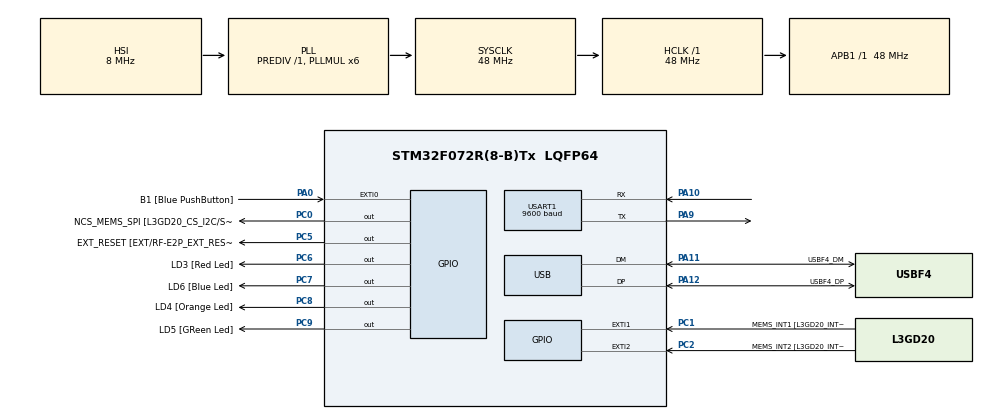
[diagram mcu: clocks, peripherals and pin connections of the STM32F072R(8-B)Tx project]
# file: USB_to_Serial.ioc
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Mcu.Family=STM32F0
Mcu.Name=STM32F072R(8-B)Tx
Mcu.Package=LQFP64
NVIC.USART1_IRQn=true\:0\:0\:false\:false\:true
NVIC.USB_IRQn=true\:0\:0\:false\:false\:true
PA0.GPIO_Label=B1 [Blue PushButton]
PA0.GPIO_ModeDefaultEXTI=GPIO_MODE_EVT_RISING
PA0.Signal=GPXTI0
PA10.Mode=Asynchronous
PA10.Signal=USART1_RX
PA11.GPIO_Label=USBF4_DM
PA11.Mode=Device
PA11.Signal=USB_DM
PA12.GPIO_Label=USBF4_DP
PA12.Mode=Device
PA12.Signal=USB_DP
PA13.GPIO_Label=SWDIO
PA13.Signal=SYS_SWDIO
PA14.GPIO_Label=SWCLK
PA14.Signal=SYS_SWCLK
PA2.Signal=TSC_G1_IO3
PA3.Signal=TSC_G1_IO4
PA6.Signal=TSC_G2_IO3
PA7.Signal=TSC_G2_IO4
PA9.Mode=Asynchronous
PA9.Signal=USART1_TX
PB0.Signal=TSC_G3_IO2
PB1.Signal=TSC_G3_IO3
PB10.GPIO_Label=I2C2_SCL[EXT/RF-E2P_SCL]
PB10.Signal=I2C2_SCL
PB11.GPIO_Label=I2C2_SDA[EXT/RF-E2P_SDA]
PB11.Signal=I2C2_SDA
PB13.GPIO_Label=SPI2_SCK [L3GD20_SCL/SPC]
PB13.Signal=SPI2_SCK
PB14.GPIO_Label=SPI2_MISO [L3GD20_SDO]
PB14.Signal=SPI2_MISO
PB15.GPIO_Label=SPI2_MOSI [L3GD20_SDA/SDI]
PB15.Signal=SPI2_MOSI
PC0.GPIO_Label=NCS_MEMS_SPI [L3GD20_CS_I2C/SPI]
PC0.Signal=GPIO_Output
PC1.GPIO_Label=MEMS_INT1 [L3GD20_INT1]
PC1.GPIO_ModeDefaultEXTI=GPIO_MODE_EVT_RISING
PC1.Signal=GPXTI1
PC2.GPIO_Label=MEMS_INT2 [L3GD20_INT2]
PC2.GPIO_ModeDefaultEXTI=GPIO_MODE_EVT_RISING
PC2.Signal=GPXTI2
PC5.GPIO_Label=EXT_RESET [EXT/RF-E2P_EXT_RESET]
PC5.Signal=GPIO_Output
PC6.GPIO_Label=LD3 [Red Led]
PC6.Signal=GPIO_Output
PC7.GPIO_Label=LD6 [Blue Led]
PC7.Signal=GPIO_Output
PC8.GPIO_Label=LD4 [Orange Led]
PC8.Signal=GPIO_Output
PC9.GPIO_Label=LD5 [GReen Led]
PC9.Signal=GPIO_Output
ProjectManager.HeapSize=0x200
ProjectManager.StackSize=0x400
ProjectManager.TargetToolchain=EWARM
RCC.AHBFreq_Value=48000000
RCC.APB1Freq_Value=48000000
RCC.APB1TimFreq_Value=48000000
RCC.HCLKFreq_Value=48000000
RCC.PLLMUL=RCC_PLL_MUL6
RCC.SYSCLKFreq_VALUE=48000000
RCC.SYSCLKSource=RCC_SYSCLKSOURCE_PLLCLK
USART1.BaudRate=9600
USART1.WordLength=UART_WORDLENGTH_8B
USB_DEVICE.CLASS_NAME_FS=CDC
USB_DEVICE.USBD_HandleTypeDef=hUsbDeviceFS
USB_DEVICE.VirtualMode=Cdc
USB_DEVICE.VirtualModeFS=Cdc_FS
VP_USB_DEVICE_VS_USB_DEVICE_CDC_FS.Mode=CDC_FS
board=STM32F072B-DISCO

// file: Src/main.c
/**
  ******************************************************************************
  * File Name          : main.c
  * Description        : Main program body
  ******************************************************************************
  *
  * COPYRIGHT(c) 2016 STMicroelectronics
  *
  * Redistribution and use in source and binary forms, with or without modification,
  * are permitted provided that the following conditions are met:
  *   1. Redistributions of source code must retain the above copyright notice,
  *      this list of conditions and the following disclaimer.
  *   2. Redistributions in binary form must reproduce the above copyright notice,
  *      this list of conditions and the following disclaimer in the documentation
  *      and/or other materials provided with the distribution.
  *   3. Neither the name of STMicroelectronics nor the names of its contributors
  *      may be used to endorse or promote products derived from this software
  *      without specific prior written permission.
  *
  * THIS SOFTWARE IS PROVIDED BY THE COPYRIGHT HOLDERS AND CONTRIBUTORS "AS IS"
  * AND ANY EXPRESS OR IMPLIED WARRANTIES, INCLUDING, BUT NOT LIMITED TO, THE
  * IMPLIED WARRANTIES OF MERCHANTABILITY AND FITNESS FOR A PARTICULAR PURPOSE ARE
  * DISCLAIMED. IN NO EVENT SHALL THE COPYRIGHT HOLDER OR CONTRIBUTORS BE LIABLE
  * FOR ANY DIRECT, INDIRECT, INCIDENTAL, SPECIAL, EXEMPLARY, OR CONSEQUENTIAL
  * DAMAGES (INCLUDING, BUT NOT LIMITED TO, PROCUREMENT OF SUBSTITUTE GOODS OR
  * SERVICES; LOSS OF USE, DATA, OR PROFITS; OR BUSINESS INTERRUPTION) HOWEVER
  * CAUSED AND ON ANY THEORY OF LIABILITY, WHETHER IN CONTRACT, STRICT LIABILITY,
  * OR TORT (INCLUDING NEGLIGENCE OR OTHERWISE) ARISING IN ANY WAY OUT OF THE USE
  * OF THIS SOFTWARE, EVEN IF ADVISED OF THE POSSIBILITY OF SUCH DAMAGE.
  *
  ******************************************************************************
  */
#include "stm32f0xx_hal.h"
#include "usart.h"
#include "usb_device.h"
#include "gpio.h"

/* USER CODE BEGIN Includes */
#include "usbd_cdc_if.h"
/* USER CODE END Includes */

__IO ITStatus UartReady = RESET;
__IO ITStatus TxBusy = RESET;

/* USER CODE BEGIN PV */
/* Private variables ---------------------------------------------------------*/
uint8_t aRxBuffer = 0;
uint8_t bufferRX_USB[1024];
uint8_t bufferRX_USART[1024];
uint8_t bufferTX_USB[1024];
uint8_t bufferTX_USART[1024];
uint16_t idx_usb_tx = 0;
uint16_t idx_usb_rx = 0;
uint16_t idx_uart_tx = 0;
uint16_t idx_uart_rx = 0;

//uint8_t teste_terminal[] = "TESTE JIGA SENSOR TEMPERATURA\n\r";
/* USER CODE END PV */

void SystemClock_Config(void);
void Error_Handler(void);

/* USER CODE BEGIN PFP */
/* Private function prototypes -----------------------------------------------*/

/* USER CODE END PFP */

/* USER CODE BEGIN 0 */
/**
  * @brief  Rx Transfer completed callback
  * @param  UartHandle: UART handle
  * @note   This example shows a simple way to report end of DMA Rx transfer, and
  *         you can add your own implementation.
  * @retval None
  */
void HAL_UART_RxCpltCallback(UART_HandleTypeDef *UartHandle)
{
    /* Set transmission flag: trasfer complete*/
    UartReady = SET;
	bufferTX_USB[idx_usb_tx++] = aRxBuffer; //prrenche buffer para enviar data pela usb
	HAL_UART_Receive_IT(&huart1, &aRxBuffer, sizeof(aRxBuffer));

}

/**
  * @brief Tx Transfer completed callback.
  * @param huart: UART handle.
  * @retval None
  */
void HAL_UART_TxCpltCallback(UART_HandleTypeDef *huart)
{
    TxBusy = RESET;
}

/* USER CODE END 0 */

uint8_t send_text = 0;
int main(void)
{

    /* USER CODE BEGIN 1 */
    uint16_t tmp_idx_usb = 0;
    uint16_t tmp_len_usb = 0;
    /* USER CODE END 1 */

    /* MCU Configuration----------------------------------------------------------*/

    /* Reset of all peripherals, Initializes the Flash interface and the Systick. */
    HAL_Init();

    /* Configure the system clock */
    SystemClock_Config();

    /* Initialize all configured peripherals */
    MX_GPIO_Init();
    MX_USART1_UART_Init();
    MX_USB_DEVICE_Init();

    /* USER CODE BEGIN 2 */
	HAL_UART_Receive_IT(&huart1, &aRxBuffer, sizeof(aRxBuffer));
    /* USER CODE END 2 */

    /* Infinite loop */
    while (1)
    {
        if(idx_usb_tx > 0)
        {
            tmp_idx_usb = 0;
            while(idx_usb_tx > 0)
            {
                if(idx_usb_tx < 64)
                   tmp_len_usb = idx_usb_tx;
                else
                    tmp_len_usb = 64;

                while(CDC_Transmit_FS(&bufferTX_USB[tmp_idx_usb], tmp_len_usb) != USBD_OK);
                tmp_idx_usb += tmp_len_usb;
                idx_usb_tx -= tmp_len_usb;
            }
        }
        if(idx_uart_tx > 0)
        {
            while(TxBusy == SET);

            while(HAL_UART_Transmit_IT(&huart1, bufferTX_USART, idx_uart_tx) != HAL_OK);
            TxBusy = SET;
            idx_uart_tx = 0;
        }
    }

}

/** System Clock Configuration
*/
void SystemClock_Config(void)
{

  RCC_OscInitTypeDef RCC_OscInitStruct;
  RCC_ClkInitTypeDef RCC_ClkInitStruct;
  RCC_PeriphCLKInitTypeDef PeriphClkInit;

  RCC_OscInitStruct.OscillatorType = RCC_OSCILLATORTYPE_HSI|RCC_OSCILLATORTYPE_HSI48;
  RCC_OscInitStruct.HSIState = RCC_HSI_ON;
  RCC_OscInitStruct.HSI48State = RCC_HSI48_ON;
  RCC_OscInitStruct.HSICalibrationValue = 16;
  RCC_OscInitStruct.PLL.PLLState = RCC_PLL_ON;
  RCC_OscInitStruct.PLL.PLLSource = RCC_PLLSOURCE_HSI;
  RCC_OscInitStruct.PLL.PLLMUL = RCC_PLL_MUL6;
  RCC_OscInitStruct.PLL.PREDIV = RCC_PREDIV_DIV1;
  if (HAL_RCC_OscConfig(&RCC_OscInitStruct) != HAL_OK)
  {
    Error_Handler();
  }

  RCC_ClkInitStruct.ClockType = RCC_CLOCKTYPE_HCLK|RCC_CLOCKTYPE_SYSCLK
                              |RCC_CLOCKTYPE_PCLK1;
  RCC_ClkInitStruct.SYSCLKSource = RCC_SYSCLKSOURCE_PLLCLK;
  RCC_ClkInitStruct.AHBCLKDivider = RCC_SYSCLK_DIV1;
  RCC_ClkInitStruct.APB1CLKDivider = RCC_HCLK_DIV1;
  if (HAL_RCC_ClockConfig(&RCC_ClkInitStruct, FLASH_LATENCY_1) != HAL_OK)
  {
    Error_Handler();
  }

  PeriphClkInit.PeriphClockSelection = RCC_PERIPHCLK_USB|RCC_PERIPHCLK_USART1;
  PeriphClkInit.Usart1ClockSelection = RCC_USART1CLKSOURCE_PCLK1;
  PeriphClkInit.UsbClockSelection = RCC_USBCLKSOURCE_HSI48;
  if (HAL_RCCEx_PeriphCLKConfig(&PeriphClkInit) != HAL_OK)
  {
    Error_Handler();
  }

  HAL_SYSTICK_Config(HAL_RCC_GetHCLKFreq()/1000);

  HAL_SYSTICK_CLKSourceConfig(SYSTICK_CLKSOURCE_HCLK);

  /* SysTick_IRQn interrupt configuration */
  HAL_NVIC_SetPriority(SysTick_IRQn, 0, 0);
}

void Error_Handler(void)
{
  while(1)
  {
  }
}

/************************ (C) COPYRIGHT STMicroelectronics *****END OF FILE****/
